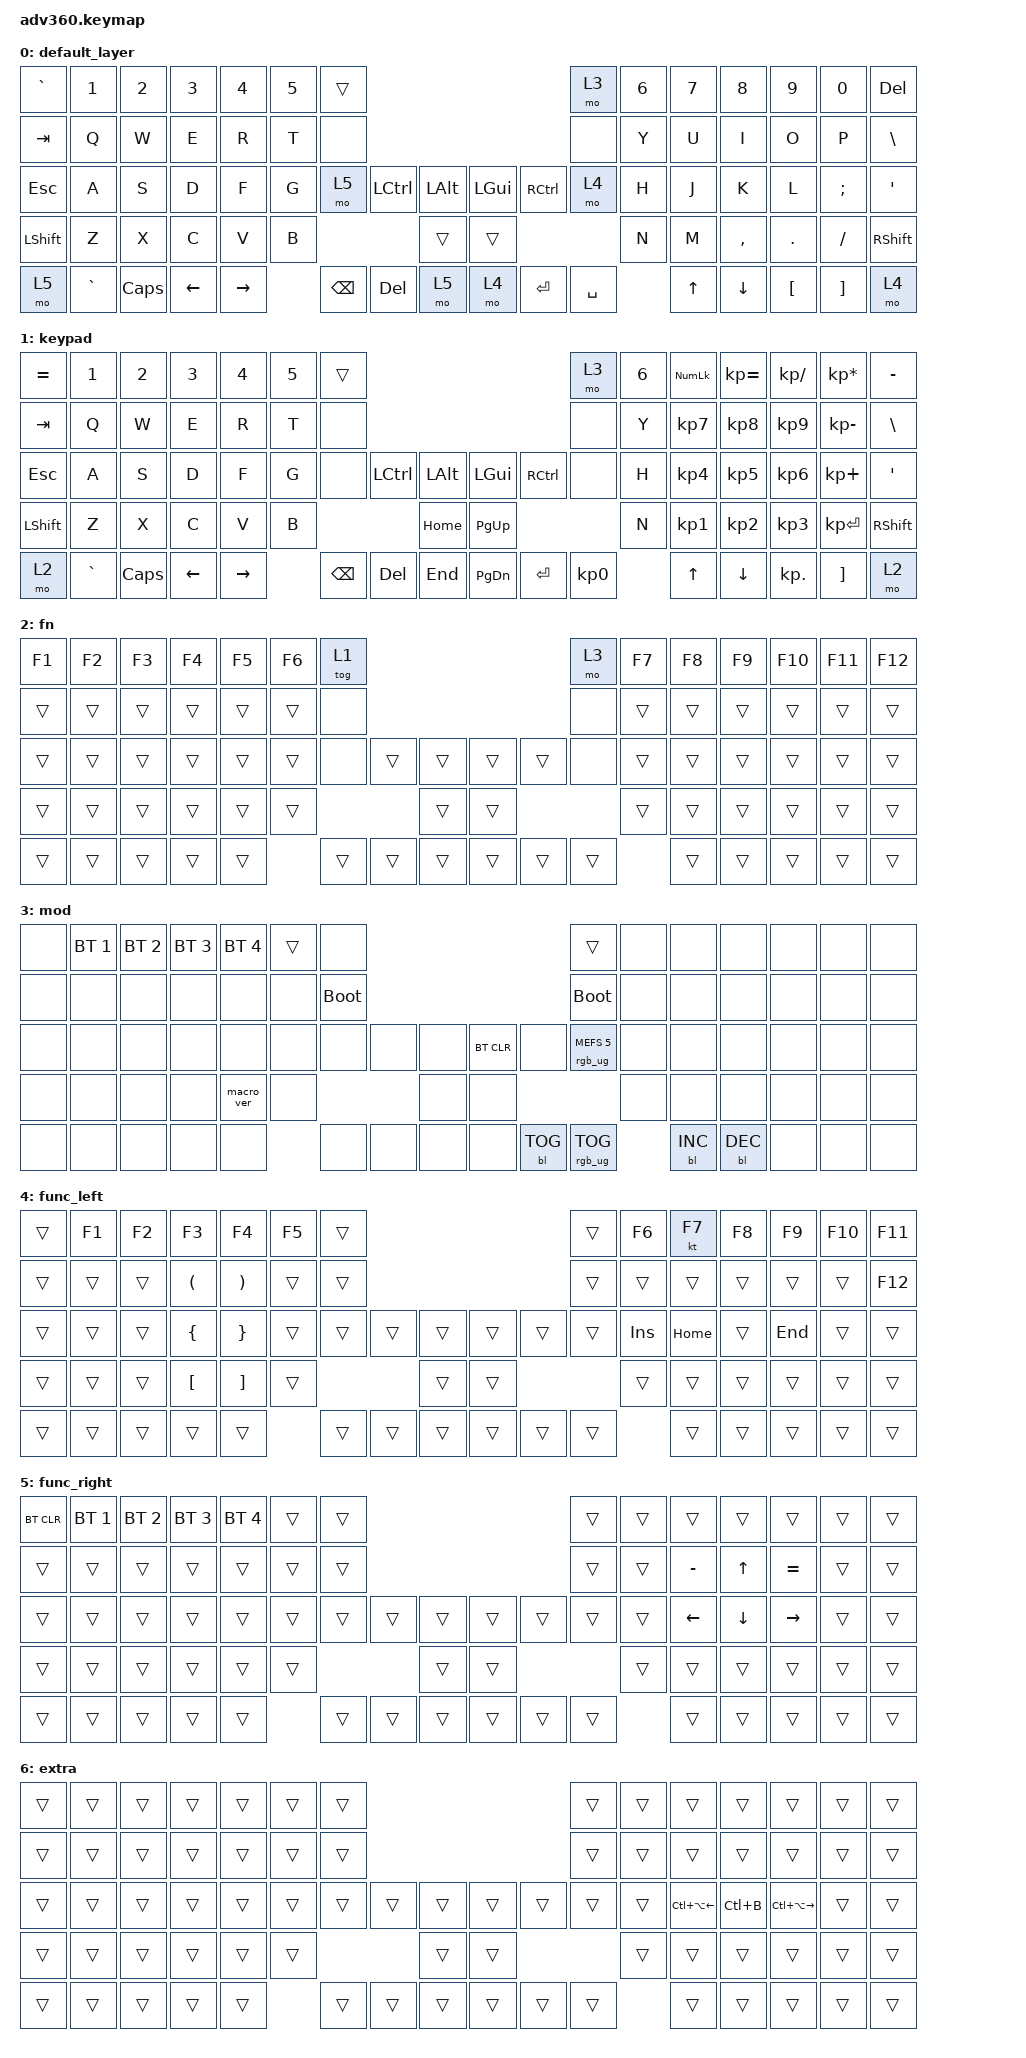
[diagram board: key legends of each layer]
#include <behaviors.dtsi>
#include <dt-bindings/zmk/backlight.h>
#include <dt-bindings/zmk/bt.h>
#include <dt-bindings/zmk/keys.h>
#include <dt-bindings/zmk/keys.h>
#include <dt-bindings/zmk/rgb.h>

/ {
    behaviors {
        #include "macros.dtsi"
      #include "version.dtsi"
      #ifndef VERSION_MACRO

        macro_ver: macro_ver {
            compatible = "zmk,behavior-macro";
            label = "macro_version";
            #binding-cells = <0>;
            bindings = <&kp RET>;
        };

        #endif

        hm: homerow_mods {
            compatible = "zmk,behavior-hold-tap";
            label = "HOMEROW_MODS";
            #binding-cells = <2>;
            tapping-term-ms = <200>;
            quick_tap_ms = <175>;
            flavor = "tap-preferred";
            bindings = <&kp>, <&kp>;
        };
    };

    macros {
    };

    keymap {
        compatible = "zmk,keymap";

        default_layer {
            bindings = <
&kp GRAVE  &kp N1     &kp N2    &kp N3    &kp N4     &kp N5  &trans                                                  &mo 3      &kp N6  &kp N7  &kp N8     &kp N9    &kp N0    &kp DELETE
&kp TAB    &kp Q      &kp W     &kp E     &kp R      &kp T   &none                                                   &none      &kp Y   &kp U   &kp I      &kp O     &kp P     &kp BSLH
&kp ESC    &kp A      &kp S     &kp D     &kp F      &kp G   &mo 5     &kp LCTRL  &kp LALT      &kp LGUI  &kp RCTRL  &mo 4      &kp H   &kp J   &kp K      &kp L     &kp SEMI  &kp SQT
&kp LSHFT  &kp Z      &kp X     &kp C     &kp V      &kp B                        &trans        &trans                          &kp N   &kp M   &kp COMMA  &kp DOT   &kp FSLH  &kp RSHFT
&mo 5      &kp GRAVE  &kp CAPS  &kp LEFT  &kp RIGHT          &kp BSPC  &kp DEL    &mo 5         &mo 4     &kp ENTER  &kp SPACE          &kp UP  &kp DOWN   &kp LBKT  &kp RBKT  &mo 4
            >;
        };

        keypad {
            bindings = <
&kp EQUAL  &kp N1     &kp N2    &kp N3    &kp N4     &kp N5  &trans                                                   &mo 3      &kp N6  &kp KP_NUM  &kp KP_EQUAL  &kp KP_DIVIDE  &kp KP_MULTIPLY  &kp MINUS
&kp TAB    &kp Q      &kp W     &kp E     &kp R      &kp T   &none                                                    &none      &kp Y   &kp KP_N7   &kp KP_N8     &kp KP_N9      &kp KP_MINUS     &kp BSLH
&kp ESC    &kp A      &kp S     &kp D     &kp F      &kp G   &none     &kp LCTRL  &kp LALT      &kp LGUI   &kp RCTRL  &none      &kp H   &kp KP_N4   &kp KP_N5     &kp KP_N6      &kp KP_PLUS      &kp SQT
&kp LSHFT  &kp Z      &kp X     &kp C     &kp V      &kp B                        &kp HOME      &kp PG_UP                        &kp N   &kp KP_N1   &kp KP_N2     &kp KP_N3      &kp KP_ENTER     &kp RSHFT
&mo 2      &kp GRAVE  &kp CAPS  &kp LEFT  &kp RIGHT          &kp BSPC  &kp DEL    &kp END       &kp PG_DN  &kp ENTER  &kp KP_N0          &kp UP      &kp DOWN      &kp KP_DOT     &kp RBKT         &mo 2
            >;
        };

        fn {
            bindings = <
&kp F1  &kp F2  &kp F3  &kp F4  &kp F5  &kp F6  &tog 1                                      &mo 3   &kp F7  &kp F8  &kp F9  &kp F10  &kp F11  &kp F12
&trans  &trans  &trans  &trans  &trans  &trans  &none                                       &none   &trans  &trans  &trans  &trans   &trans   &trans
&trans  &trans  &trans  &trans  &trans  &trans  &none   &trans  &trans      &trans  &trans  &none   &trans  &trans  &trans  &trans   &trans   &trans
&trans  &trans  &trans  &trans  &trans  &trans                  &trans      &trans                  &trans  &trans  &trans  &trans   &trans   &trans
&trans  &trans  &trans  &trans  &trans          &trans  &trans  &trans      &trans  &trans  &trans          &trans  &trans  &trans   &trans   &trans
            >;
        };

        mod {
            bindings = <
&none  &bt BT_SEL 1  &bt BT_SEL 2  &bt BT_SEL 3  &bt BT_SEL 4  &trans  &none                                                  &trans                  &none  &none       &none       &none  &none  &none
&none  &none         &none         &none         &none         &none   &bootloader                                            &bootloader             &none  &none       &none       &none  &none  &none
&none  &none         &none         &none         &none         &none   &none        &none  &none      &bt BT_CLR  &none       &rgb_ug RGB_MEFS_CMD 5  &none  &none       &none       &none  &none  &none
&none  &none         &none         &none         &macro_ver    &none                       &none      &none                                           &none  &none       &none       &none  &none  &none
&none  &none         &none         &none         &none                 &none        &none  &none      &none       &bl BL_TOG  &rgb_ug RGB_TOG                &bl BL_INC  &bl BL_DEC  &none  &none  &none
            >;
        };

        func_left {
            bindings = <
&trans  &kp F1  &kp F2  &kp F3                &kp F4                 &kp F5  &trans                                      &trans  &kp F6      &kt F7    &kp F8  &kp F9   &kp F10  &kp F11
&trans  &trans  &trans  &kp LEFT_PARENTHESIS  &kp RIGHT_PARENTHESIS  &trans  &trans                                      &trans  &trans      &trans    &trans  &trans   &trans   &kp F12
&trans  &trans  &trans  &kp LEFT_BRACE        &kp RIGHT_BRACE        &trans  &trans  &trans  &trans      &trans  &trans  &trans  &kp INSERT  &kp HOME  &trans  &kp END  &trans   &trans
&trans  &trans  &trans  &kp LEFT_BRACKET      &kp RIGHT_BRACKET      &trans                  &trans      &trans                  &trans      &trans    &trans  &trans   &trans   &trans
&trans  &trans  &trans  &trans                &trans                         &trans  &trans  &trans      &trans  &trans  &trans              &trans    &trans  &trans   &trans   &trans
            >;
        };

        func_right {
            bindings = <
&bt BT_CLR  &bt BT_SEL 1  &bt BT_SEL 2  &bt BT_SEL 3  &bt BT_SEL 4  &trans  &trans                                      &trans  &trans  &trans     &trans        &trans     &trans  &trans
&trans      &trans        &trans        &trans        &trans        &trans  &trans                                      &trans  &trans  &kp MINUS  &kp UP_ARROW  &kp EQUAL  &trans  &trans
&trans      &trans        &trans        &trans        &trans        &trans  &trans  &trans  &trans      &trans  &trans  &trans  &trans  &kp LEFT   &kp DOWN      &kp RIGHT  &trans  &trans
&trans      &trans        &trans        &trans        &trans        &trans                  &trans      &trans                  &trans  &trans     &trans        &trans     &trans  &trans
&trans      &trans        &trans        &trans        &trans                &trans  &trans  &trans      &trans  &trans  &trans          &trans     &trans        &trans     &trans  &trans
            >;
        };

        extra {
            bindings = <
&trans  &trans  &trans  &trans  &trans  &trans  &trans                                      &trans  &trans  &trans            &trans     &trans             &trans  &trans
&trans  &trans  &trans  &trans  &trans  &trans  &trans                                      &trans  &trans  &trans            &trans     &trans             &trans  &trans
&trans  &trans  &trans  &trans  &trans  &trans  &trans  &trans  &trans      &trans  &trans  &trans  &trans  &kp LC(LA(LEFT))  &kp LC(B)  &kp LC(LA(RIGHT))  &trans  &trans
&trans  &trans  &trans  &trans  &trans  &trans                  &trans      &trans                  &trans  &trans            &trans     &trans             &trans  &trans
&trans  &trans  &trans  &trans  &trans          &trans  &trans  &trans      &trans  &trans  &trans          &trans            &trans     &trans             &trans  &trans
            >;
        };
    };

    conditional_layers {
        compatible = "zmk,conditional-layers";

        extra_layer {
            if-layers = <4 5>;
            then-layer = <6>;
        };
    };
};
